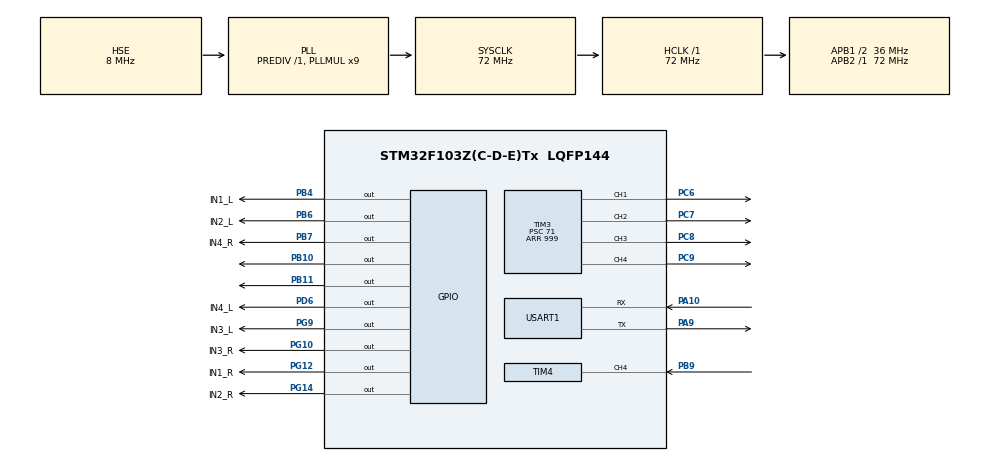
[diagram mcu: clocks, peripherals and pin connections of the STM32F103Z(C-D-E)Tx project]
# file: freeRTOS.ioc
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FREERTOS.Tasks01=defaultTask,24,128,StartDefaultTask,Default,NULL,Dynamic,NULL,NULL;MoveTask01,24,64,moveTask01,Default,NULL,Dynamic,NULL,NULL
FREERTOS.configMINIMAL_STACK_SIZE=64
FREERTOS.configTOTAL_HEAP_SIZE=6123
Mcu.Family=STM32F1
Mcu.Name=STM32F103Z(C-D-E)Tx
Mcu.Package=LQFP144
NVIC.PriorityGroup=NVIC_PRIORITYGROUP_4
NVIC.TIM3_IRQn=true\:5\:0\:false\:false\:true\:true\:true\:true\:true
NVIC.TIM4_IRQn=true\:5\:0\:true\:false\:true\:true\:true\:true\:true
NVIC.USART1_IRQn=true\:5\:0\:false\:false\:true\:true\:true\:true\:true
OSC_IN.Mode=HSE-External-Oscillator
OSC_IN.Signal=RCC_OSC_IN
OSC_OUT.Mode=HSE-External-Oscillator
OSC_OUT.Signal=RCC_OSC_OUT
PA10.Mode=Asynchronous
PA10.Signal=USART1_RX
PA13.Mode=Serial_Wire
PA13.Signal=SYS_JTMS-SWDIO
PA14.Mode=Serial_Wire
PA14.Signal=SYS_JTCK-SWCLK
PA9.Mode=Asynchronous
PA9.Signal=USART1_TX
PB10.Signal=GPIO_Output
PB11.Signal=GPIO_Output
PB4.GPIO_Label=IN1_L
PB4.Signal=GPIO_Output
PB6.GPIO_Label=IN2_L
PB6.Signal=GPIO_Output
PB7.GPIO_Label=IN4_R
PB7.Signal=GPIO_Output
PB9.Signal=S_TIM4_CH4
PC14-OSC32_IN.Mode=LSE-External-Oscillator
PC14-OSC32_IN.Signal=RCC_OSC32_IN
PC15-OSC32_OUT.Mode=LSE-External-Oscillator
PC15-OSC32_OUT.Signal=RCC_OSC32_OUT
PC6.Signal=S_TIM3_CH1
PC7.Signal=S_TIM3_CH2
PC8.Signal=S_TIM3_CH3
PC9.Signal=S_TIM3_CH4
PD6.GPIO_Label=IN4_L
PD6.Signal=GPIO_Output
PG10.GPIO_Label=IN3_R
PG10.Signal=GPIO_Output
PG12.GPIO_Label=IN1_R
PG12.Signal=GPIO_Output
PG14.GPIO_Label=IN2_R
PG14.Signal=GPIO_Output
PG9.GPIO_Label=IN3_L
PG9.Signal=GPIO_Output
ProjectManager.HeapSize=0x200
ProjectManager.StackSize=0x400
ProjectManager.TargetToolchain=STM32CubeIDE
RCC.AHBFreq_Value=72000000
RCC.APB1CLKDivider=RCC_HCLK_DIV2
RCC.APB1Freq_Value=36000000
RCC.APB1TimFreq_Value=72000000
RCC.APB2Freq_Value=72000000
RCC.APB2TimFreq_Value=72000000
RCC.HCLKFreq_Value=72000000
RCC.PLLMUL=RCC_PLL_MUL9
RCC.PLLSourceVirtual=RCC_PLLSOURCE_HSE
RCC.SYSCLKFreq_VALUE=72000000
RCC.SYSCLKSource=RCC_SYSCLKSOURCE_PLLCLK
RCC.USBFreq_Value=72000000
SH.S_TIM3_CH1.0=TIM3_CH1,PWM Generation1 CH1
SH.S_TIM3_CH2.0=TIM3_CH2,PWM Generation2 CH2
SH.S_TIM3_CH3.0=TIM3_CH3,PWM Generation3 CH3
SH.S_TIM3_CH4.0=TIM3_CH4,PWM Generation4 CH4
SH.S_TIM4_CH4.0=TIM4_CH4,Input_Capture4_from_TI4
TIM3.AutoReloadPreload=TIM_AUTORELOAD_PRELOAD_ENABLE
TIM3.Channel-PWM\ Generation1\ CH1=TIM_CHANNEL_1
TIM3.Channel-PWM\ Generation2\ CH2=TIM_CHANNEL_2
TIM3.Channel-PWM\ Generation3\ CH3=TIM_CHANNEL_3
TIM3.Channel-PWM\ Generation4\ CH4=TIM_CHANNEL_4
TIM3.Period=999
TIM3.Prescaler=71
TIM4.AutoReloadPreload=TIM_AUTORELOAD_PRELOAD_ENABLE
TIM4.Channel-Input_Capture4_from_TI4=TIM_CHANNEL_4
TIM4.ICFilter_CH4=3
TIM4.Prescaler=71
TIM6.AutoReloadPreload=TIM_AUTORELOAD_PRELOAD_ENABLE
TIM6.Period=599
TIM6.Prescaler=7199
USART1.VirtualMode=VM_ASYNC
VP_FREERTOS_VS_CMSIS_V2.Mode=CMSIS_V2
VP_TIM3_VS_ClockSourceINT.Mode=Internal
VP_TIM4_VS_ClockSourceINT.Mode=Internal
VP_TIM6_VS_ClockSourceINT.Mode=Enable_Timer
board=custom

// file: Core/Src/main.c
/* USER CODE BEGIN Header */
/**
  ******************************************************************************
  * @file           : main.c
  * @brief          : Main program body
  ******************************************************************************
  * @attention
  *
  * Copyright (c) 2026 STMicroelectronics.
  * All rights reserved.
  *
  * This software is licensed under terms that can be found in the LICENSE file
  * in the root directory of this software component.
  * If no LICENSE file comes with this software, it is provided AS-IS.
  *
  ******************************************************************************
  */
/* USER CODE END Header */
#include "main.h"
#include "cmsis_os.h"
#include "tim.h"
#include "usart.h"
#include "gpio.h"

void SystemClock_Config(void);
void MX_FREERTOS_Init(void);

int main(void)
{

  /* MCU Configuration--------------------------------------------------------*/

  /* Reset of all peripherals, Initializes the Flash interface and the Systick. */
  HAL_Init();

  /* Configure the system clock */
  SystemClock_Config();

  /* Initialize all configured peripherals */
  MX_GPIO_Init();
  MX_TIM3_Init();
  MX_TIM4_Init();
  MX_TIM6_Init();
  MX_USART1_UART_Init();
  /* USER CODE BEGIN 2 */
  remote_init();    // 红外输入捕获通道配置，开启CH4捕获/更新中断

  osKernelStart();
  /* USER CODE END 2 */

  /* Init scheduler */
  osKernelInitialize();

  /* Call init function for freertos objects (in cmsis_os2.c) */
  MX_FREERTOS_Init();

  /* Start scheduler */
  osKernelStart();

  /* We should never get here as control is now taken by the scheduler */

  /* Infinite loop */
  while (1)
  {

  }
}

void SystemClock_Config(void)
{
  RCC_OscInitTypeDef RCC_OscInitStruct = {0};
  RCC_ClkInitTypeDef RCC_ClkInitStruct = {0};

  /** Initializes the RCC Oscillators according to the specified parameters
  * in the RCC_OscInitTypeDef structure.
  */
  RCC_OscInitStruct.OscillatorType = RCC_OSCILLATORTYPE_HSE;
  RCC_OscInitStruct.HSEState = RCC_HSE_ON;
  RCC_OscInitStruct.HSEPredivValue = RCC_HSE_PREDIV_DIV1;
  RCC_OscInitStruct.HSIState = RCC_HSI_ON;
  RCC_OscInitStruct.PLL.PLLState = RCC_PLL_ON;
  RCC_OscInitStruct.PLL.PLLSource = RCC_PLLSOURCE_HSE;
  RCC_OscInitStruct.PLL.PLLMUL = RCC_PLL_MUL9;
  if (HAL_RCC_OscConfig(&RCC_OscInitStruct) != HAL_OK)
  {
    Error_Handler();
  }

  /** Initializes the CPU, AHB and APB buses clocks
  */
  RCC_ClkInitStruct.ClockType = RCC_CLOCKTYPE_HCLK|RCC_CLOCKTYPE_SYSCLK
                              |RCC_CLOCKTYPE_PCLK1|RCC_CLOCKTYPE_PCLK2;
  RCC_ClkInitStruct.SYSCLKSource = RCC_SYSCLKSOURCE_PLLCLK;
  RCC_ClkInitStruct.AHBCLKDivider = RCC_SYSCLK_DIV1;
  RCC_ClkInitStruct.APB1CLKDivider = RCC_HCLK_DIV2;
  RCC_ClkInitStruct.APB2CLKDivider = RCC_HCLK_DIV1;

  if (HAL_RCC_ClockConfig(&RCC_ClkInitStruct, FLASH_LATENCY_2) != HAL_OK)
  {
    Error_Handler();
  }
}

/* USER CODE BEGIN 4 */
#ifdef __GNUC__
#define PUTCHAR_PROTOTYPE() int __io_putchar(int ch)
PUTCHAR_PROTOTYPE()
{
    uint32_t wait_cnt = 0;
    const uint32_t MAX_TX_WAIT = 5000;
    // 增加最大等待次数，超时直接丢弃字符，不会无限死锁
    while((__HAL_UART_GET_FLAG(&huart1, UART_FLAG_TXE) == RESET) && wait_cnt < MAX_TX_WAIT)
    {
        wait_cnt++;
    }
    huart1.Instance->DR = (uint8_t)ch;
    return ch;
}
#endif
/* USER CODE END 4 */

void Error_Handler(void)
{
  __disable_irq();
  while (1)
  {
  }
}

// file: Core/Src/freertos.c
/* USER CODE BEGIN Header */
/**
  ******************************************************************************
  * File Name          : freertos.c
  * Description        : Code for freertos applications
  ******************************************************************************
  * @attention
  *
  * Copyright (c) 2026 STMicroelectronics.
  * All rights reserved.
  *
  * This software is licensed under terms that can be found in the LICENSE file
  * in the root directory of this software component.
  * If no LICENSE file comes with this software, it is provided AS-IS.
  *
  ******************************************************************************
  */
/* USER CODE END Header */

#include "FreeRTOS.h"
#include "task.h"
#include "main.h"
#include "cmsis_os.h"

/* USER CODE BEGIN Includes */
#include "wheel.h"
#include "gpio.h"
#include<stdio.h>
#include "remote.h"
/* USER CODE END Includes */

/* Definitions for defaultTask */
osThreadId_t defaultTaskHandle;
const osThreadAttr_t defaultTask_attributes = {
  .name = "defaultTask",
  .stack_size = 128 * 4,
  .priority = (osPriority_t) osPriorityNormal,
};
/* Definitions for MoveTask01 */
osThreadId_t MoveTask01Handle;
const osThreadAttr_t MoveTask01_attributes = {
  .name = "MoveTask01",
  .stack_size = 64 * 4,
  .priority = (osPriority_t) osPriorityNormal,
};

void StartDefaultTask(void *argument);
void moveTask01(void *argument);

void MX_FREERTOS_Init(void); /* (MISRA C 2004 rule 8.1) */

void MX_FREERTOS_Init(void) {

  /* Create the thread(s) */
  /* creation of defaultTask */
  defaultTaskHandle = osThreadNew(StartDefaultTask, NULL, &defaultTask_attributes);

  /* creation of MoveTask01 */
  MoveTask01Handle = osThreadNew(moveTask01, NULL, &MoveTask01_attributes);

}

void StartDefaultTask(void *argument)
{
  /* USER CODE BEGIN StartDefaultTask */
  /* Infinite loop */
  for(;;)
  {
	  uint8_t key = remote_scan();

//	  if(key != 0)
//	  {
		 if(key==70){
			 forward(1000);
			 osDelay(200);
			 key=0;
		 }else if(key==21){
			 down(600);
			 osDelay(200);
			 key=0;
		 }else if(key==68){
			 right(600);
			 osDelay(200);
			 key=0;
		 }else if(key==67){
			 left(600);
			 osDelay(200);
			 key=0;
		 }else if(key==64){
			 stop(0);
			 osDelay(200);
			 key=0;
		 }else if(key==12){
			 left_ON1(700);
			 osDelay(200);
			 key=0;
		 }else if(key==94){
			 right_ON1(700);
			 osDelay(200);
			 key=0;
		 }else if(key==0){
			  printf("按键值：%d\r\n",key);
			  stop(0);
			  key=0;
		 }
//	  }
    osDelay(1);
  }
  /* USER CODE END StartDefaultTask */
}

void moveTask01(void *argument)
{
  for(;;)
  {
    osDelay(1);
  }
}
